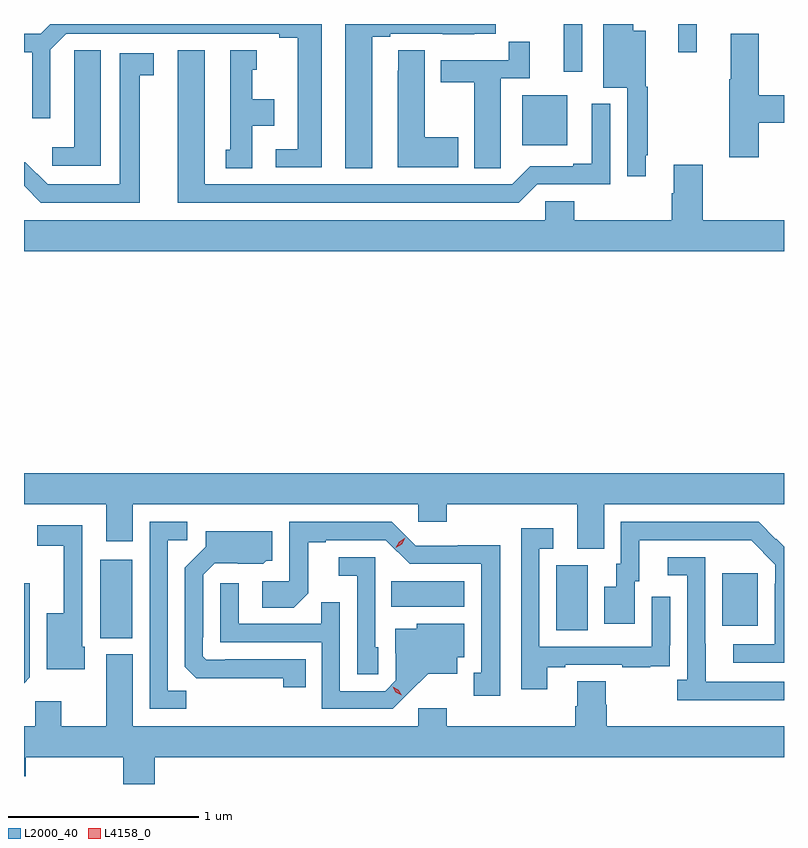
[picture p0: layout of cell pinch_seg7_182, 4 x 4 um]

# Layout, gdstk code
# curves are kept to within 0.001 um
import gdstk
lib = gdstk.Library(unit=1e-6, precision=1e-09)
def R(c, l, rs):  # rectangles x0, y0, x1, y1
    for r in rs: c.add(gdstk.rectangle(r[:2], r[2:], *l))
def P(c, l, *ps):  # polygons
    for p in ps: c.add(gdstk.Polygon(p, *l))
L2000_40 = (2000, 40)
L4158_0 = (4158, 0)

pinch_seg7_182 = lib.new_cell('pinch_seg7_182')
R(pinch_seg7_182, L2000_40, [(1129.952,1021.223,1130.119,1021.636), (1132.352,1021.264,1132.516,1021.608), (1133.225,1021.289,1133.413,1021.564), (1131.484,1021.388,1131.868,1021.522), (1132.172,1023.818,1132.408,1024.081), (1132.391,1024.206,1132.488,1024.456), (1132.993,1024.308,1133.092,1024.456)])
P(pinch_seg7_182, L2000_40, [(1131.382,1024.389),(1131.478,1024.389),(1131.478,1024.404),(1131.754,1024.404),(1131.754,1024.403),(1131.92,1024.403),(1131.92,1024.404),(1132.033,1024.404),(1132.033,1024.456),(1131.242,1024.456),(1131.242,1023.697),(1131.382,1023.697)],
  [(1132.822,1023.766),(1132.834,1023.766),(1132.834,1024.125),(1132.822,1024.125),(1132.822,1024.42),(1132.756,1024.42),(1132.756,1024.456),(1132.598,1024.456),(1132.598,1024.121),(1132.725,1024.121),(1132.725,1023.654),(1132.822,1023.654)],
  [(1131.118,1024.456),(1129.689,1024.456),(1129.637,1024.404),(1129.55,1024.404),(1129.55,1024.308),(1129.593,1024.308),(1129.593,1023.96),(1129.689,1023.96),(1129.689,1024.32),(1129.773,1024.404),(1130.894,1024.404),(1130.894,1024.384),(1130.99,1024.384),(1130.99,1023.798),(1130.874,1023.798),(1130.874,1023.702),(1131.118,1023.702)],
  [(1133.417,1023.935),(1133.55,1023.935),(1133.55,1024.082),(1133.417,1024.082),(1133.417,1024.405),(1133.27,1024.405),(1133.27,1024.165),(1133.263,1024.165),(1133.263,1023.756),(1133.417,1023.756)],
  [(1132.059,1023.808),(1132.06,1023.808),(1132.06,1024.17),(1132.211,1024.17),(1132.211,1024.363),(1132.102,1024.363),(1132.102,1024.266),(1131.743,1024.266),(1131.743,1024.15),(1131.92,1024.15),(1131.92,1023.697),(1132.059,1023.697)],
  [(1131.835,1023.861),(1131.658,1023.861),(1131.658,1024.319),(1131.519,1024.319),(1131.519,1024.211),(1131.518,1024.211),(1131.518,1023.701),(1131.835,1023.701)],
  [(1129.954,1024.319),(1129.815,1024.319),(1129.815,1024.211),(1129.814,1024.211),(1129.814,1023.808),(1129.698,1023.808),(1129.698,1023.711),(1129.954,1023.711)],
  [(1132.251,1023.612),(1132.635,1023.612),(1132.635,1024.036),(1132.538,1024.036),(1132.538,1023.721),(1132.442,1023.721),(1132.442,1023.708),(1132.215,1023.708),(1132.119,1023.612),(1130.5,1023.612),(1130.5,1024.318),(1130.36,1024.318),(1130.36,1023.516),(1132.155,1023.516)],
  [(1130.752,1023.92),(1130.866,1023.92),(1130.866,1024.06),(1130.752,1024.06),(1130.752,1024.215),(1130.776,1024.215),(1130.776,1024.318),(1130.636,1024.318),(1130.636,1023.795),(1130.612,1023.795),(1130.612,1023.697),(1130.752,1023.697)],
  [(1130.158,1024.186),(1130.233,1024.186),(1130.233,1024.302),(1130.054,1024.302),(1130.054,1023.612),(1129.674,1023.612),(1129.557,1023.729),(1129.55,1023.729),(1129.55,1023.604),(1129.638,1023.516),(1130.158,1023.516)],
  [(1133.55,1023.424),(1133.123,1023.424),(1133.123,1023.715),(1132.97,1023.715),(1132.97,1023.566),(1132.958,1023.566),(1132.958,1023.424),(1132.445,1023.424),(1132.445,1023.522),(1132.293,1023.522),(1132.293,1023.424),(1129.55,1023.424),(1129.55,1023.26),(1133.55,1023.26)],
  [(1132.603,1021.928),(1133.55,1021.928),(1133.55,1022.092),(1129.55,1022.092),(1129.55,1021.928),(1129.982,1021.928),(1129.982,1021.734),(1130.122,1021.734),(1130.122,1021.928),(1131.624,1021.928),(1131.624,1021.835),(1131.776,1021.835),(1131.776,1021.928),(1132.463,1021.928),(1132.463,1021.693),(1132.603,1021.693)],
  [(1133.55,1021.704),(1133.416,1021.836),(1132.692,1021.836),(1132.692,1021.614),(1132.667,1021.614),(1132.667,1021.495),(1132.604,1021.495),(1132.604,1021.299),(1132.765,1021.299),(1132.765,1021.524),(1132.789,1021.524),(1132.789,1021.74),(1133.377,1021.74),(1133.505,1021.611),(1133.505,1021.511),(1133.502,1021.511),(1133.502,1021.191),(1133.283,1021.191),(1133.283,1021.095),(1133.55,1021.095)],
  [(1132.057,1021.712),(1131.834,1021.712),(1131.834,1021.71),(1131.612,1021.71),(1131.486,1021.836),(1130.946,1021.836),(1130.946,1021.524),(1130.805,1021.524),(1130.805,1021.384),(1130.969,1021.384),(1131.045,1021.46),(1131.045,1021.728),(1131.139,1021.728),(1131.139,1021.74),(1131.453,1021.74),(1131.579,1021.614),(1131.956,1021.614),(1131.956,1021.041),(1131.917,1021.041),(1131.917,1020.921),(1132.057,1020.921)],
  [(1130.403,1020.947),(1130.307,1020.947),(1130.307,1021.74),(1130.41,1021.74),(1130.41,1021.836),(1130.211,1021.836),(1130.211,1020.852),(1130.403,1020.852)],
  [(1129.87,1021.179),(1129.857,1021.179),(1129.857,1021.818),(1129.62,1021.818),(1129.62,1021.71),(1129.76,1021.71),(1129.76,1021.354),(1129.67,1021.354),(1129.67,1021.061),(1129.87,1021.061)],
  [(1132.303,1021.071),(1132.399,1021.071),(1132.399,1021.083),(1132.699,1021.083),(1132.699,1021.071),(1132.847,1021.071),(1132.847,1021.077),(1132.949,1021.077),(1132.949,1021.186),(1132.95,1021.186),(1132.95,1021.441),(1132.854,1021.441),(1132.854,1021.179),(1132.263,1021.179),(1132.263,1021.695),(1132.336,1021.695),(1132.336,1021.801),(1132.167,1021.801),(1132.167,1020.954),(1132.303,1020.954)],
  [(1131.032,1021.113),(1130.608,1021.113),(1130.608,1021.11),(1130.508,1021.11),(1130.49,1021.128),(1130.49,1021.228),(1130.493,1021.228),(1130.493,1021.557),(1130.553,1021.617),(1130.81,1021.616),(1130.826,1021.632),(1130.857,1021.632),(1130.857,1021.786),(1130.507,1021.786),(1130.507,1021.704),(1130.397,1021.594),(1130.397,1021.072),(1130.456,1021.013),(1130.914,1021.012),(1130.914,1020.966),(1131.032,1020.966)],
  [(1133.55,1020.993),(1133.137,1020.993),(1133.137,1021.193),(1133.136,1021.193),(1133.136,1021.65),(1132.938,1021.65),(1132.938,1021.554),(1133.04,1021.554),(1133.04,1021.006),(1132.989,1021.006),(1132.989,1020.896),(1133.55,1020.896)],
  [(1131.414,1021.176),(1131.399,1021.176),(1131.399,1021.65),(1131.207,1021.65),(1131.207,1021.553),(1131.303,1021.553),(1131.303,1021.033),(1131.414,1021.033)],
  [(1131.574,1020.935),(1131.677,1021.037),(1131.829,1021.037),(1131.829,1021.124),(1131.868,1021.124),(1131.868,1021.3),(1131.618,1021.3),(1131.618,1021.273),(1131.503,1021.273),(1131.503,1021.144),(1131.507,1021.144),(1131.507,1021.002),(1131.45,1020.945),(1131.213,1020.945),(1131.213,1021.412),(1131.115,1021.412),(1131.115,1021.299),(1130.679,1021.299),(1130.679,1021.513),(1130.583,1021.513),(1130.583,1021.203),(1131.117,1021.203),(1131.117,1020.852),(1131.49,1020.852)],
  [(1129.581,1021.017),(1129.581,1021.513),(1129.55,1021.513),(1129.55,1020.986)],
  [(1130.237,1020.596),(1133.55,1020.596),(1133.55,1020.76),(1132.616,1020.76),(1132.616,1020.873),(1132.611,1020.873),(1132.611,1020.998),(1132.463,1020.998),(1132.463,1020.866),(1132.451,1020.866),(1132.451,1020.76),(1131.776,1020.76),(1131.776,1020.856),(1131.624,1020.856),(1131.624,1020.76),(1130.122,1020.76),(1130.122,1021.138),(1129.982,1021.138),(1129.982,1020.76),(1129.747,1020.76),(1129.747,1020.892),(1129.608,1020.892),(1129.608,1020.76),(1129.55,1020.76),(1129.55,1020.498),(1129.559,1020.498),(1129.559,1020.596),(1130.072,1020.596),(1130.072,1020.456),(1130.237,1020.456)])
P(pinch_seg7_182, L4158_0, [(1131.506,1021.7),(1131.506,1021.7),(1131.524,1021.732),(1131.556,1021.751),(1131.556,1021.751),(1131.556,1021.751),(1131.539,1021.718),(1131.507,1021.7)],
  [(1131.537,1020.922),(1131.507,1020.938),(1131.49,1020.968),(1131.49,1020.968),(1131.49,1020.968),(1131.52,1020.952),(1131.537,1020.923),(1131.537,1020.922)])

lib.write_gds('pinch_seg7_182.gds')
